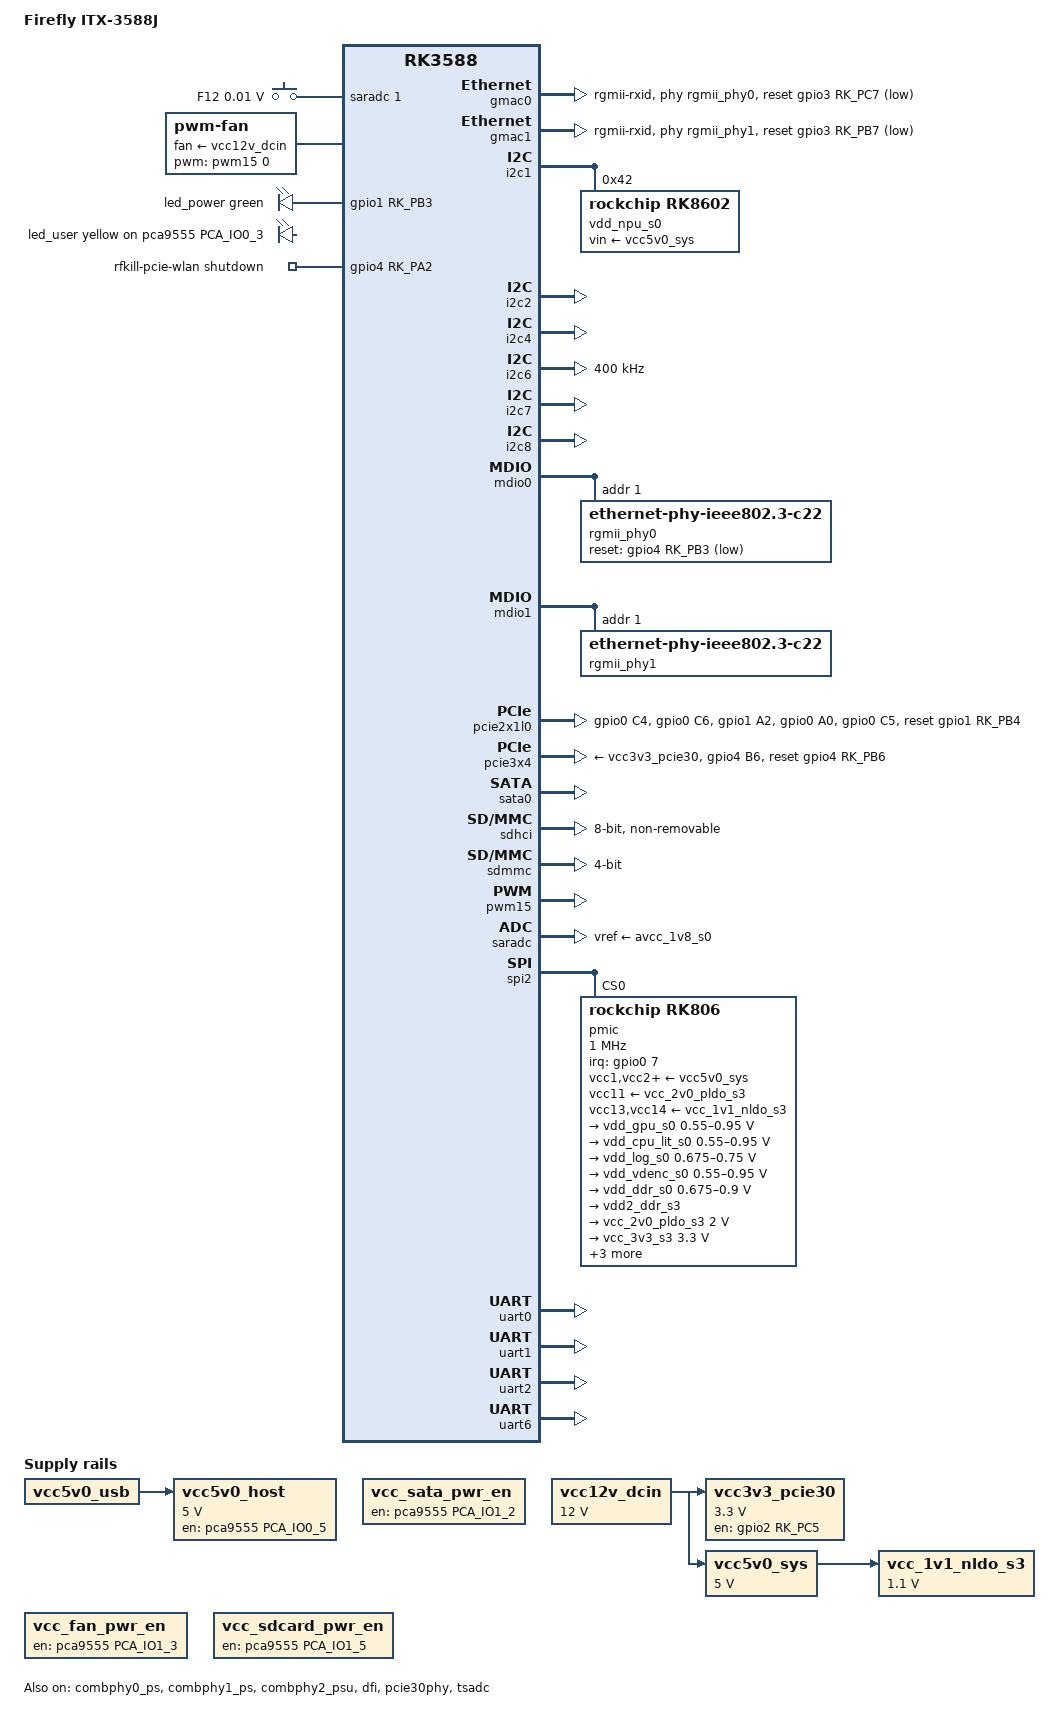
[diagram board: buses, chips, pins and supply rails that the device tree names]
// SPDX-License-Identifier: (GPL-2.0+ OR MIT)
/*
 * Copyright (c) 2021 Rockchip Electronics Co., Ltd.
 *
 */

/dts-v1/;

#include <dt-bindings/gpio/gpio.h>
#include <dt-bindings/input/input.h>
#include <dt-bindings/pinctrl/rockchip.h>
#include <dt-bindings/leds/common.h>
#include <dt-bindings/soc/rockchip-system-status.h>

#include "rk3588.dtsi"
#include "rk3588-firefly-itx-3588j-i2c0.dtsi"
#include "rk3588-firefly-itx-3588j-accelerators.dtsi"
#include "rk3588-firefly-itx-3588j-audio.dtsi"
#include "rk3588-firefly-itx-3588j-i2c6.dtsi"
#include "rk3588-firefly-itx-3588j-opp-tables.dtsi"
#include "rk3588-firefly-itx-3588j-usb.dtsi"
#include "rk3588-firefly-itx-3588j-video.dtsi"

//include "rk3588-firefly-itx-cam-8ms1m.dtsi"
//include "rk3588-firefly-itx-cam-2ms2m.dtsi"

/ {
	model = "Firefly ITX-3588J";
	// These bootargs from the 5.10 BSP. It is unclear whether they are still required.
	bootargs = "irqchip.gicv3_pseudo_nmi=0 coherent_pool=1m cgroup_enable=memory swapaccount=1";
	compatible = "firefly,rk3588-itx-3588j", "rockchip,rk3588";

	aliases {
		ethernet0 = &gmac0;
		ethernet1 = &gmac1;
		mmc0 = &sdhci;
		mmc1 = &sdmmc;
	};

	adc_keys: adc-keys {
		status = "okay";
		compatible = "adc-keys";
		io-channels = <&saradc 1>;
		io-channel-names = "buttons";
		keyup-threshold-microvolt = <1800000>;
		poll-interval = <100>;

		button-recovery {
			label = "F12";
			linux,code = <KEY_F12>;
			press-threshold-microvolt = <10000>;
		};
	};

	chosen {
		stdout-path = "serial2:1500000n8";
		bootargs =
		"irqchip.gicv3_pseudo_nmi=0 coherent_pool=1m systemd.gpt_auto=0 cgroup_enable=memory swapaccount=1 net.ifnames=0
		ignore_loglevel initcall_debug";
	};

	//	dmc: dmc {
	//		compatible = "rockchip,rk3588-dmc";
	//		interrupts = <GIC_SPI 73 IRQ_TYPE_LEVEL_HIGH 0>;
	//		interrupt-names = "complete";
	//		devfreq-events = <&dfi>;
	//		clocks = <&scmi_clk 4>;
	//		clock-names = "dmc_clk";
	//		operating-points-v2 = <&dmc_opp_table>;
	//		upthreshold = <40>;
	//		downdifferential = <20>;
	//		mem-supply = <&vdd_log_s0>;
	//		system-status-level = <
	//									  // system status        freq level
	//									  SYS_STATUS_NORMAL       DMC_FREQ_LEVEL_MID_HIGH
	//									  SYS_STATUS_REBOOT       DMC_FREQ_LEVEL_HIGH
	//									  SYS_STATUS_SUSPEND      DMC_FREQ_LEVEL_LOW
	//									  SYS_STATUS_VIDEO_4K     DMC_FREQ_LEVEL_MID_HIGH
	//									  SYS_STATUS_VIDEO_4K_10B DMC_FREQ_LEVEL_MID_HIGH
	//									  SYS_STATUS_VIDEO_SVEP   DMC_FREQ_LEVEL_MID_HIGH
	//									  SYS_STATUS_BOOST        DMC_FREQ_LEVEL_HIGH
	//									  SYS_STATUS_ISP          DMC_FREQ_LEVEL_HIGH
	//									  SYS_STATUS_PERFORMANCE  DMC_FREQ_LEVEL_HIGH
	//									  SYS_STATUS_DUALVIEW     DMC_FREQ_LEVEL_HIGH
	//									  SYS_STATUS_HDMIRX       DMC_FREQ_LEVEL_HIGH
	//							  >;
	//		auto-freq-en = <1>;
	//		status = "okay";
	//	};

	fan: pwm-fan {
		compatible = "pwm-fan";
		#cooling-cells = <2>;
		fan-supply = <&vcc12v_dcin>;
		pwms = <&pwm15 0 50000 1>;
		cooling-levels = <255 200 150 100 50 0>;
	};

	leds {
		compatible = "gpio-leds";
		pinctrl-names = "default";
		pinctrl-0 = <&leds_gpio>;

		led_power {
			function = LED_FUNCTION_POWER;
			default-state = "on";
			gpios = <&gpio1 RK_PB3 GPIO_ACTIVE_HIGH>;
			color = <LED_COLOR_ID_GREEN>;
		};

		led_user {
			function = LED_FUNCTION_STATUS;
			default-state = "off";
			gpios = <&pca9555 PCA_IO0_3 GPIO_ACTIVE_HIGH>;
			color = <LED_COLOR_ID_YELLOW>;
		};

	};

	rfkill {
		compatible = "rfkill-gpio";
		label = "rfkill-pcie-wlan";
		radio-type = "wlan";
		shutdown-gpios = <&gpio4 RK_PA2 GPIO_ACTIVE_HIGH>;
	};

	vcc_sata_pwr_en: vcc-sata-pwr-en-regulator {
		compatible = "regulator-fixed";
		regulator-name = "vcc_sata_pwr_en";
		regulator-boot-on;
		regulator-always-on;
		enable-active-high;
		status = "disabled";
		gpio = <&pca9555 PCA_IO1_2 GPIO_ACTIVE_HIGH>;  //PCA_IO 12
	};

	vcc12v_dcin: vcc12v-dcin-regulator {
		compatible = "regulator-fixed";
		regulator-name = "vcc12v_dcin";
		regulator-always-on;
		regulator-boot-on;
		regulator-min-microvolt = <12000000>;
		regulator-max-microvolt = <12000000>;
	};

	vcc3v3_pcie30: vcc3v3-pcie30-regulator {
		compatible = "regulator-fixed";
		regulator-name = "vcc3v3_pcie30";
		regulator-boot-on;
		regulator-min-microvolt = <3300000>;
		regulator-max-microvolt = <3300000>;
		enable-active-high;
		gpios = <&gpio2 RK_PC5 GPIO_ACTIVE_HIGH>;
		startup-delay-us = <5000>;
		vin-supply = <&vcc12v_dcin>;
		pinctrl-names = "default";
		pinctrl-0 = <&vcc3v3_pcie30_en>;
	};

	vcc5v0_host: vcc5v0-host-regulator {
		compatible = "regulator-fixed";
		regulator-name = "vcc5v0_host";
		regulator-boot-on;
		regulator-always-on;
		regulator-min-microvolt = <5000000>;
		regulator-max-microvolt = <5000000>;
		enable-active-high;
		gpio = <&pca9555 PCA_IO0_5 GPIO_ACTIVE_HIGH>;
		pinctrl-names = "default";
		pinctrl-0 = <&vcc5v0_host_en>;
		vin-supply = <&vcc5v0_usb>;
		status = "okay";
	};

	vcc5v0_sys: vcc5v0-sys-regulator {
		compatible = "regulator-fixed";
		regulator-name = "vcc5v0_sys";
		regulator-always-on;
		regulator-boot-on;
		regulator-min-microvolt = <5000000>;
		regulator-max-microvolt = <5000000>;
		vin-supply = <&vcc12v_dcin>;
	};

	vcc_1v1_nldo_s3: vcc-1v1-nldo-s3-regulator {
		compatible = "regulator-fixed";
		regulator-name = "vcc_1v1_nldo_s3";
		regulator-always-on;
		regulator-boot-on;
		regulator-min-microvolt = <1100000>;
		regulator-max-microvolt = <1100000>;
		vin-supply = <&vcc5v0_sys>;
	};

	vcc_fan_pwr_en: vcc-fan-pwr-en-regulator {
		compatible = "regulator-fixed";
		regulator-name = "vcc_fan_pwr_en";
		regulator-boot-on;
		regulator-always-on;
		enable-active-high;
		gpio = <&pca9555 PCA_IO1_3 GPIO_ACTIVE_HIGH>;  //PCA_IO 13
	};

	vcc_sdcard_pwr_en: vcc-sdcard-pwr-en-regulator {
		compatible = "regulator-fixed";
		regulator-name = "vcc_sdcard_pwr_en";
		regulator-boot-on;
		regulator-always-on;
		enable-active-high;
		gpio = <&pca9555 PCA_IO1_5 GPIO_ACTIVE_HIGH>;  //PCA_IO 15
		status = "disabled";
	};
};

&combphy0_ps {
	status = "okay";
};

&combphy1_ps {
	status = "okay";
};

&combphy2_psu {
	status = "okay";
};

&cpu_b0 {
	cpu-supply = <&vdd_cpu_big0_s0>;
};

&cpu_b1 {
	cpu-supply = <&vdd_cpu_big0_s0>;
};

&cpu_b2 {
	cpu-supply = <&vdd_cpu_big1_s0>;
};

&cpu_b3 {
	cpu-supply = <&vdd_cpu_big1_s0>;
};

&cpu_l0 {
	cpu-supply = <&vdd_cpu_lit_s0>;
};

&cpu_l1 {
	cpu-supply = <&vdd_cpu_lit_s0>;
};

&cpu_l2 {
	cpu-supply = <&vdd_cpu_lit_s0>;
};

&cpu_l3 {
	cpu-supply = <&vdd_cpu_lit_s0>;
};

&dfi {
	status = "okay";
};

// gamc0, a.k.a. ethernet0
&gmac0 {
	clock_in_out = "output";
	phy-handle = <&rgmii_phy0>;
	phy-mode = "rgmii-rxid";
	pinctrl-0 = <&gmac0_miim
	             &gmac0_tx_bus2
	             &gmac0_rx_bus2
	             &gmac0_rgmii_clk
	             &gmac0_rgmii_bus>;
	pinctrl-names = "default";
	rx_delay = <0x00>;
	tx_delay = <0x45>;
	snps,reset-gpio = <&gpio3 RK_PC7 GPIO_ACTIVE_LOW>;
	// Reset time is 20ms, 100ms for rtl8211f
	snps,reset-delays-us = <0 20000 100000>;
	snps,reset-active-low;
	status = "okay";
};

// from: https://wiki.t-firefly.com/en/Core-3588J/usage_ethernet.html
&gmac0_tx_bus2 {
	rockchip,pins =
		/* gmac0_txd0 */
		<2 RK_PB6 1 &pcfg_pull_up_drv_level_6>,
		/* gmac0_txd1 */
		<2 RK_PB7 1 &pcfg_pull_up_drv_level_6>,
		/* gmac0_txen */
		<2 RK_PC0 1 &pcfg_pull_none>;
};

// from: https://wiki.t-firefly.com/en/Core-3588J/usage_ethernet.html
&gmac0_rgmii_bus {
	rockchip,pins =
		/* gmac0_rxd2 */
		<2 RK_PA6 1 &pcfg_pull_none>,
		/* gmac0_rxd3 */
		<2 RK_PA7 1 &pcfg_pull_none>,
		/* gmac0_txd2 */
		<2 RK_PB1 1 &pcfg_pull_up_drv_level_6>,
		/* gmac0_txd3 */
		<2 RK_PB2 1 &pcfg_pull_up_drv_level_6>;
};

// gmac1, a.k.a. ethernet1
&gmac1 {
	// Use rgmii-rxid mode to disable rx delay inside Soc
	phy-mode = "rgmii-rxid";
	phy-handle = <&rgmii_phy1>;
	clock_in_out = "output";

	snps,reset-gpio = <&gpio3 RK_PB7 GPIO_ACTIVE_LOW>;
	snps,reset-active-low;
	// Reset time is 20ms, 100ms for rtl8211f
	snps,reset-delays-us = <0 20000 100000>;

	pinctrl-names = "default";
	pinctrl-0 = <&gmac1_miim
	             &gmac1_tx_bus2
	             &gmac1_rx_bus2
	             &gmac1_rgmii_clk
	             &gmac1_rgmii_bus>;

	tx_delay = <0x42>;
	status = "okay";
};

&gmac1_tx_bus2 {
	rockchip,pins =
	/* gmac1_txd0 */
		<3 RK_PB3 1 &pcfg_pull_up_drv_level_6>,
	/* gmac1_txd1 */
		<3 RK_PB4 1 &pcfg_pull_up_drv_level_6>,
	/* gmac1_txen */
		<3 RK_PB5 1 &pcfg_pull_none>;
};

&gmac1_rgmii_bus {
	rockchip,pins =
	/* gmac1_rxd2 */
		<3 RK_PA2 1 &pcfg_pull_none>,
	/* gmac1_rxd3 */
		<3 RK_PA3 1 &pcfg_pull_none>,
	/* gmac1_txd2 */
		<3 RK_PA0 1 &pcfg_pull_up_drv_level_6>,
	/* gmac1_txd3 */
		<3 RK_PA1 1 &pcfg_pull_up_drv_level_6>;
};

&i2c1 {
	status = "okay";
	pinctrl-names = "default";
	pinctrl-0 = <&i2c1m2_xfer>;

	vdd_npu_s0: vdd_npu_mem_s0: regulator@42 {
		compatible = "rockchip,rk8602";
		reg = <0x42>;
		vin-supply = <&vcc5v0_sys>;
		regulator-name = "vdd_npu_s0";
		regulator-min-microvolt = <550000>;
		regulator-max-microvolt = <950000>;
		regulator-ramp-delay = <2300>;
		regulator-boot-on;
		regulator-always-on;

		regulator-state-mem {
			regulator-off-in-suspend;
		};
	};

};

&i2c2 {
	status = "okay";
};

&i2c4 {
	status = "okay";
	pinctrl-names = "default";
	pinctrl-0 = <&i2c4m1_xfer>;
};

&i2c6 {
	clock-frequency = <400000>;
	status = "okay";
};

&i2c7 {
	status = "okay";
	pinctrl-0 = <&i2c7m2_xfer>;
};

&i2c8 {
	status = "okay";
	pinctrl-names = "default";
	pinctrl-0 = <&i2c8m2_xfer>;
};

&mdio0 {
	rgmii_phy0: ethernet-phy@1 {
		// RTL8211F
		compatible = "ethernet-phy-ieee802.3-c22";
		reg = <0x1>;
		pinctrl-names = "default";
		pinctrl-0 = <&rtl8211f_rst>;
		reset-assert-us = <20000>;
		reset-deassert-us = <100000>;
		reset-gpios = <&gpio4 RK_PB3 GPIO_ACTIVE_LOW>;
	};
};

&mdio1 {
	rgmii_phy1: ethernet-phy@1 {
		/* RTL8211F */
		compatible = "ethernet-phy-ieee802.3-c22";
		reg = <0x1>;
		pinctrl-names = "default";
		pinctrl-0 = <&rtl8211f_rst>;
		reset-assert-us = <15000>;
		reset-deassert-us = <50000>;
		/* The pin seems correct, but if the network card is initialised by U-Boot during EFI Boot
		 * (triggered by grub2-efi?), and the Linux kernel resets it again, it seems to cause a crash.
		 * ("cannot initialise MDIO") */
		// reset-gpios = <&gpio3 RK_PB7 GPIO_ACTIVE_LOW>;
	};
};

&package_thermal {
	polling-delay = <1000>;

	trips {
		package_fan0: package-fan0 {
			hysteresis = <5000>;
			temperature = <55000>;
			type = "active";
		};

		package_fan1: package-fan1 {
			hysteresis = <5000>;
			temperature = <65000>;
			type = "active";
		};
	};

	cooling-maps {
		map1 {
			cooling-device = <&fan THERMAL_NO_LIMIT 1>;
			trip = <&package_fan0>;
		};

		map2 {
			cooling-device = <&fan 2 THERMAL_NO_LIMIT>;
			trip = <&package_fan1>;
		};
	};
};

&pcie2x1l0 {
	reset-gpios = <&gpio1 RK_PB4 GPIO_ACTIVE_HIGH>;
	pinctrl-names = "default";
	pinctrl-0 = <&wifi_poweren_gpio>, <&bt_reset_gpio>, <&uart6_gpios>, <&bt_irq_gpio>, <&bt_wake_gpio>;
	status = "okay";
};

// pcie3.0 x 4 slot
&pcie30phy {
	status = "okay";
};

&pcie3x4 {
	pinctrl-names = "default";
	pinctrl-0 = <&pcie3_rst>;
	reset-gpios = <&gpio4 RK_PB6 GPIO_ACTIVE_HIGH>;
	vpcie3v3-supply = <&vcc3v3_pcie30>;
	status = "okay";
};

&sata0 {
	status = "okay";
};

&sdhci {
	bus-width = <8>;
	no-sd;
	no-sdio;
	non-removable;
	mmc-hs200-1_8v;
	status = "okay";
};

&sdmmc {
	bus-width = <4>;
	cap-mmc-highspeed;
	cap-sd-highspeed;
	disable-wp;
	max-frequency = <150000000>;
	no-mmc;
	no-sdio;
	sd-uhs-sdr104;
	vqmmc-supply = <&vccio_sd_s0>;
	status = "okay";
};

// pinctrl
&pinctrl {
	dp {
		dp1_hpd: dp1-hpd {
			rockchip,pins = <1 RK_PA4 RK_FUNC_GPIO &pcfg_pull_none>;
		};
	};

	hdmirx {
		hdmirx_det: hdmirx-det {
			rockchip,pins = <1 RK_PD5 RK_FUNC_GPIO &pcfg_pull_up>;
		};
	};

	headphone {
		hp_det: hp-det {
			rockchip,pins = <1 RK_PC4 RK_FUNC_GPIO &pcfg_pull_none>;
		};
	};

	hym8563 {
		hym8563_int: hym8563-int {
			rockchip,pins = <0 RK_PB0 RK_FUNC_GPIO &pcfg_pull_up>;
		};
	};

	lcd {
		lcd_rst_gpio: lcd-rst-gpio {
			rockchip,pins = <2 RK_PB4 RK_FUNC_GPIO &pcfg_pull_none>;
		};
	};

	leds {
		leds_gpio: leds-gpio {
			rockchip,pins = <1 RK_PB3 RK_FUNC_GPIO &pcfg_pull_none>;
		};
	};

	pcie3 {
		pcie3_rst: pcie3-rst {
			rockchip,pins = <4 RK_PB6 RK_FUNC_GPIO &pcfg_pull_none>;
		};

		vcc3v3_pcie30_en: vcc3v3-pcie30-en {
			rockchip,pins = <2 RK_PC5 RK_FUNC_GPIO &pcfg_pull_none>;
		};
	};

	rtl8211f {
		rtl8211f_rst: rtl8211f-rst {
			rockchip,pins = <4 RK_PB3 RK_FUNC_GPIO &pcfg_pull_none>;
		};
	};

	touch {
		touch_gpio: touch-gpio {
			rockchip,pins =
				<0 RK_PD5 RK_FUNC_GPIO &pcfg_pull_up>,
				<0 RK_PC6 RK_FUNC_GPIO &pcfg_pull_none>;
		};
	};

	wireless-bluetooth {
		uart6_gpios: uart6-gpios {
			rockchip,pins = <1 RK_PA2 RK_FUNC_GPIO &pcfg_pull_none>;
		};

		bt_reset_gpio: bt-reset-gpio {
			rockchip,pins = <0 RK_PC6 RK_FUNC_GPIO &pcfg_pull_none>;
		};

		bt_wake_gpio: bt-wake-gpio {
			rockchip,pins = <0 RK_PC5 RK_FUNC_GPIO &pcfg_pull_none>;
		};

		bt_irq_gpio: bt-irq-gpio {
			rockchip,pins = <0 RK_PA0 RK_FUNC_GPIO &pcfg_pull_down>;
		};
	};

	wireless-wlan {
		/*
		 * wifi_host_wake_irq / wifi-host-wake-irq are disabled in BSP's
		 * arch/arm64/boot/dts/rockchip/rk3588-firefly-itx-3588j.dtsi.
		 * I assume that the Wake-on-(W)LAN function is not supported.
		 *
		 * wifi_host_wake_irq: wifi-host-wake-irq {
		 *	rockchip,pins = <0 RK_PB2 RK_FUNC_GPIO &pcfg_pull_down>;
		 * };
		 */

		wifi_poweren_gpio: wifi-poweren-gpio {
			rockchip,pins = <0 RK_PC4 RK_FUNC_GPIO &pcfg_pull_up>;
		};
	};

};

&pwm15 {
	pinctrl-0 = <&pwm15m2_pins>;
	pinctrl-names = "default";
	status = "okay";
};

// Successive Approximation Register (SAR) A/D Converter
&saradc {
	vref-supply = <&avcc_1v8_s0>;
	status = "okay";
};

&spi2 {
	status = "okay";
	assigned-clocks = <&cru CLK_SPI2>;
	assigned-clock-rates = <200000000>;
	pinctrl-0 = <&spi2m2_cs0 &spi2m2_pins>;
	num-cs = <1>;

	pmic@0 {
		compatible = "rockchip,rk806";
		spi-max-frequency = <1000000>;
		reg = <0x0>;

		interrupt-parent = <&gpio0>;
		interrupts = <7 IRQ_TYPE_LEVEL_LOW>;

		pinctrl-names = "default", "pmic-power-off";
		pinctrl-0 = <&pmic_pins>, <&rk806_dvs1_null>,
			    <&rk806_dvs2_null>, <&rk806_dvs3_null>;
		pinctrl-1 = <&rk806_dvs1_pwrdn>;

		system-power-controller;

		vcc1-supply = <&vcc5v0_sys>;
		vcc2-supply = <&vcc5v0_sys>;
		vcc3-supply = <&vcc5v0_sys>;
		vcc4-supply = <&vcc5v0_sys>;
		vcc5-supply = <&vcc5v0_sys>;
		vcc6-supply = <&vcc5v0_sys>;
		vcc7-supply = <&vcc5v0_sys>;
		vcc8-supply = <&vcc5v0_sys>;
		vcc9-supply = <&vcc5v0_sys>;
		vcc10-supply = <&vcc5v0_sys>;
		vcc11-supply = <&vcc_2v0_pldo_s3>;
		vcc12-supply = <&vcc5v0_sys>;
		vcc13-supply = <&vcc_1v1_nldo_s3>;
		vcc14-supply = <&vcc_1v1_nldo_s3>;
		vcca-supply = <&vcc5v0_sys>;

		gpio-controller;
		#gpio-cells = <2>;

		rk806_dvs1_null: dvs1-null-pins {
			pins = "gpio_pwrctrl1";
			function = "pin_fun0";
		};

		rk806_dvs1_pwrdn: dvs1-pwrdn-pins {
			pins = "gpio_pwrctrl1";
			function = "pin_fun2";
		};

		rk806_dvs2_null: dvs2-null-pins {
			pins = "gpio_pwrctrl2";
			function = "pin_fun0";
		};

		rk806_dvs3_null: dvs3-null-pins {
			pins = "gpio_pwrctrl3";
			function = "pin_fun0";
		};

		regulators {
			vdd_gpu_s0: vdd_gpu_mem_s0: dcdc-reg1 {
				regulator-boot-on;
				regulator-min-microvolt = <550000>;
				regulator-max-microvolt = <950000>;
				regulator-ramp-delay = <12500>;
				regulator-name = "vdd_gpu_s0";
				regulator-enable-ramp-delay = <400>;

				regulator-state-mem {
					regulator-off-in-suspend;
				};
			};

			vdd_cpu_lit_s0: vdd_cpu_lit_mem_s0: dcdc-reg2 {
				regulator-always-on;
				regulator-boot-on;
				regulator-min-microvolt = <550000>;
				regulator-max-microvolt = <950000>;
				regulator-ramp-delay = <12500>;
				regulator-name = "vdd_npu_s0";

				regulator-state-mem {
					regulator-off-in-suspend;
				};
			};

			vdd_log_s0: dcdc-reg3 {
				regulator-always-on;
				regulator-boot-on;
				regulator-min-microvolt = <675000>;
				regulator-max-microvolt = <750000>;
				regulator-ramp-delay = <12500>;
				regulator-name = "vdd_log_s0";

				regulator-state-mem {
					regulator-off-in-suspend;
					regulator-suspend-microvolt = <750000>;
				};
			};

			vdd_vdenc_s0: vdd_vdenc_mem_s0: dcdc-reg4 {
				regulator-always-on;
				regulator-boot-on;
				regulator-min-microvolt = <550000>;
				regulator-max-microvolt = <950000>;
				regulator-ramp-delay = <12500>;
				regulator-name = "vdd_vdenc_s0";

				regulator-state-mem {
					regulator-off-in-suspend;
				};

			};

			vdd_ddr_s0: dcdc-reg5 {
				regulator-always-on;
				regulator-boot-on;
				regulator-min-microvolt = <675000>;
				regulator-max-microvolt = <900000>;
				regulator-ramp-delay = <12500>;
				regulator-name = "vdd_ddr_s0";

				regulator-state-mem {
					regulator-off-in-suspend;
					regulator-suspend-microvolt = <850000>;
				};
			};

			vdd2_ddr_s3: dcdc-reg6 {
				regulator-always-on;
				regulator-boot-on;
				regulator-name = "vdd2_ddr_s3";

				regulator-state-mem {
					regulator-off-in-suspend;
				};

			};

			vcc_2v0_pldo_s3: dcdc-reg7 {
				regulator-always-on;
				regulator-boot-on;
				regulator-min-microvolt = <2000000>;
				regulator-max-microvolt = <2000000>;
				regulator-ramp-delay = <12500>;
				regulator-name = "vdd_2v0_pldo_s3";

				regulator-state-mem {
					regulator-on-in-suspend;
					regulator-suspend-microvolt = <2000000>;
				};
			};

			vcc_3v3_s3: dcdc-reg8 {
				regulator-always-on;
				regulator-boot-on;
				regulator-min-microvolt = <3300000>;
				regulator-max-microvolt = <3300000>;
				regulator-name = "vcc_3v3_s3";

				regulator-state-mem {
					regulator-on-in-suspend;
					regulator-suspend-microvolt = <3300000>;
				};
			};

			vddq_ddr_s0: dcdc-reg9 {
				regulator-always-on;
				regulator-boot-on;
				regulator-name = "vddq_ddr_s0";

				regulator-state-mem {
					regulator-on-in-suspend;
				};
			};

			vcc_1v8_s3: dcdc-reg10 {
				regulator-always-on;
				regulator-boot-on;
				regulator-min-microvolt = <1800000>;
				regulator-max-microvolt = <1800000>;
				regulator-name = "vcc_1v8_s3";

				regulator-state-mem {
					regulator-on-in-suspend;
					regulator-suspend-microvolt = <1800000>;
				};
			};

			avcc_1v8_s0: avcc_1v8_codec_s0: pldo-reg1 {
				regulator-always-on;
				regulator-boot-on;
				regulator-min-microvolt = <1800000>;
				regulator-max-microvolt = <1800000>;
				regulator-ramp-delay = <12500>;
				regulator-name = "avcc_1v8_s0";

				regulator-state-mem {
					regulator-off-in-suspend;
				};
			};

			vcc_1v8_s0: pldo-reg2 {
				regulator-always-on;
				regulator-boot-on;
				regulator-min-microvolt = <1800000>;
				regulator-max-microvolt = <1800000>;
				regulator-name = "vcc_1v8_s0";

				regulator-state-mem {
					regulator-off-in-suspend;
					regulator-suspend-microvolt = <1800000>;

				};
			};

			avdd_1v2_s0: pldo-reg3 {
				regulator-always-on;
				regulator-boot-on;
				regulator-min-microvolt = <1200000>;
				regulator-max-microvolt = <1200000>;
				regulator-name = "avdd_1v2_s0";

				regulator-state-mem {
					regulator-off-in-suspend;
				};
			};

			vcc_3v3_s0: pldo-reg4 {
				regulator-always-on;
				regulator-boot-on;
				regulator-min-microvolt = <3300000>;
				regulator-max-microvolt = <3300000>;
				regulator-name = "vcc_3v3_s0";

				regulator-state-mem {
					regulator-off-in-suspend;
				};
			};

			vccio_sd_s0: pldo-reg5 {
				regulator-always-on;
				regulator-boot-on;
				regulator-min-microvolt = <1800000>;
				regulator-max-microvolt = <3300000>;
				regulator-name = "vccio_sd_s0";

				regulator-state-mem {
					regulator-off-in-suspend;
				};
			};

			pldo6_s3: pldo-reg6 {
				regulator-always-on;
				regulator-boot-on;
				regulator-min-microvolt = <1800000>;
				regulator-max-microvolt = <1800000>;
				regulator-name = "pldo6_s3";

				regulator-state-mem {
					regulator-on-in-suspend;
					regulator-suspend-microvolt = <1800000>;

				};
			};

			vdd_0v75_s3: nldo-reg1 {
				regulator-always-on;
				regulator-boot-on;
				regulator-min-microvolt = <750000>;
				regulator-max-microvolt = <750000>;
				regulator-name = "vdd_0v75_s3";

				regulator-state-mem {
					regulator-on-in-suspend;
					regulator-suspend-microvolt = <750000>;
				};
			};

			vdd_ddr_pll_s0: nldo-reg2 {
				regulator-always-on;
				regulator-boot-on;
				regulator-min-microvolt = <850000>;
				regulator-max-microvolt = <850000>;
				regulator-name = "vdd_ddr_pll_s0";

				regulator-state-mem {
					regulator-off-in-suspend;
					regulator-suspend-microvolt = <850000>;
				};
			};

			avdd_0v75_s0: nldo-reg3 {
				regulator-always-on;
				regulator-boot-on;
				regulator-min-microvolt = <750000>;
				regulator-max-microvolt = <750000>;
				regulator-name = "avdd_0v75_s0";

				regulator-state-mem {
					regulator-off-in-suspend;
				};
			};

			vdd_0v85_s0: nldo-reg4 {
				regulator-always-on;
				regulator-boot-on;
				regulator-min-microvolt = <850000>;
				regulator-max-microvolt = <850000>;
				regulator-name = "vdd_0v85_s0";

				regulator-state-mem {
					regulator-off-in-suspend;

				};
			};

			vdd_0v75_s0: nldo-reg5 {
				regulator-always-on;
				regulator-boot-on;
				regulator-min-microvolt = <750000>;
				regulator-max-microvolt = <750000>;
				regulator-name = "vdd_0v75_s0";

				regulator-state-mem {
					regulator-off-in-suspend;
				};
			};
		};
	};
};

// Deviating from the normal sort order here because avcc_1v8_s0 is not known before the &spi2 section is parsed,
// thus causing a DTC compiler error.
&avcc_1v8_s0 {
	regulator-state-mem {
		regulator-on-in-suspend;
	};
};

// serial ports
// RS232 on the board (FC10 connector)
&uart0 {
	pinctrl-0 = <&uart0m2_xfer>;
	status = "okay";
};

// RS485 on the board (FC10 connector)
&uart1 {
	pinctrl-0 = <&uart1m1_xfer>;
	status = "okay";
};

// debug port / serial console
&uart2 {
	pinctrl-0 = <&uart2m0_xfer>;
	status = "okay";
};

// Bluetooth part of the AP6275 chip
&uart6 {
	pinctrl-names = "default";
	pinctrl-0 = <&uart6m1_xfer &uart6m1_ctsn>;
	status = "okay";
};

// thermal sensor analog / digital converter (CPU temperatures etc.)
&tsadc {
	status = "okay";
};

&vcc_1v8_s0 {
	regulator-state-mem {
		regulator-on-in-suspend;
		regulator-suspend-microvolt = <1800000>;
	};
};

&vcc3v3_pcie30 {
	gpios = <&gpio2 RK_PC5 GPIO_ACTIVE_HIGH>;
	startup-delay-us = <5000>;
	status = "okay";
};

&vcc5v0_host {
	gpio = <&pca9555 PCA_IO0_5 GPIO_ACTIVE_HIGH>;
	vin-supply = <&vcc5v0_usb>;
	status = "okay";
};

&vcc_fan_pwr_en {
	status = "okay";
	gpio = <&pca9555 PCA_IO1_3 GPIO_ACTIVE_HIGH>;  //PCA_IO 13
};

&vcc_sata_pwr_en {
	status = "okay";
	gpio = <&pca9555 PCA_IO1_2 GPIO_ACTIVE_HIGH>;  //PCA_IO 12
};

&vcc_sdcard_pwr_en {
	gpio = <&pca9555 PCA_IO1_5 GPIO_ACTIVE_HIGH>;  //PCA_IO 15
	status = "okay";
};
